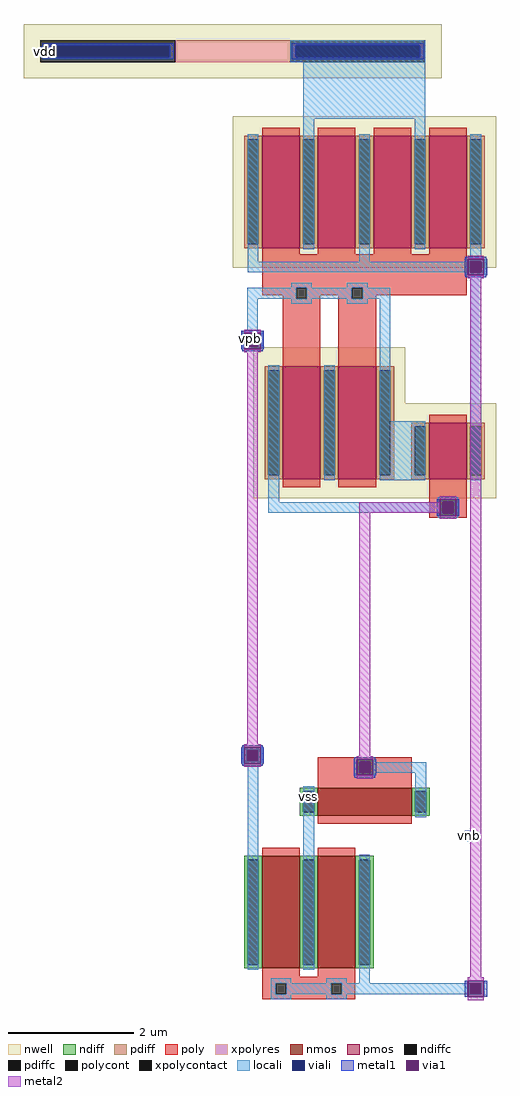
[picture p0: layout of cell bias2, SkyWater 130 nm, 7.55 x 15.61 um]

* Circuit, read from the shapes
.subckt bias2 vdd vpb vss vnb
XM1 vss XM2/d vpb VSUBS sky130_fd_pr__nfet_01v8 w=1.8 l=0.6
XM2 XM2/d XM2/d vss VSUBS sky130_fd_pr__nfet_01v8 w=1.8 l=0.6
XM3 XM5/d XM5/d vss VSUBS sky130_fd_pr__nfet_01v8 w=0.45 l=1.5
XM4 XR1/r0 vpb XM2/d n1 sky130_fd_pr__pfet_01v8 w=1.8 l=0.6 m=4
XM5 XM3/s vpb XM5/d n2 sky130_fd_pr__pfet_01v8 w=1.8 l=0.6
XM6 vpb vpb XM3/s n2 sky130_fd_pr__pfet_01v8 w=1.8 l=0.6
XM7 XM2/d XM5/d vpb n2 sky130_fd_pr__pfet_01v8 w=0.9 l=0.6
XR8 XR1/r0 vdd VSUBS sky130_fd_pr__res_xhigh_po w=0.35 l=1.84
.ends

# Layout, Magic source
magic
tech sky130A
magscale 1 2
<< poly >>
rect -140 1040 -20 1446
rect 38 1040 158 1446
rect 216 1040 336 1446
rect 394 1040 514 1446
rect -140 933 514 1040
rect -140 909 -31 933
rect -74 899 -31 909
rect 3 909 147 933
rect 3 899 46 909
rect -74 296 46 899
rect 104 899 147 909
rect 181 909 514 933
rect 181 899 224 909
rect 104 322 224 899
rect 394 248 514 502
rect 394 214 437 248
rect 471 214 514 248
rect 394 198 514 214
rect 38 -583 338 -567
rect 38 -617 171 -583
rect 205 -617 338 -583
rect 38 -781 338 -617
rect -140 -1269 -20 -883
rect 38 -1269 158 -883
rect -140 -1291 158 -1269
rect -140 -1325 -97 -1291
rect -63 -1325 81 -1291
rect 115 -1325 158 -1291
rect -140 -1341 158 -1325
<< polycont >>
rect -31 899 3 933
rect 147 899 181 933
rect 437 214 471 248
rect 171 -617 205 -583
rect -97 -1325 -63 -1291
rect 81 -1325 115 -1291
<< locali >>
rect -50 1655 382 1725
rect -8 1474 382 1655
rect -186 1017 -152 1424
rect -8 1056 26 1474
rect 170 1017 204 1424
rect 348 1056 382 1474
rect 526 1033 560 1424
rect 510 1017 576 1033
rect -186 983 526 1017
rect 560 983 576 1017
rect 510 967 576 983
rect -47 933 19 949
rect 131 933 197 949
rect -188 899 -31 933
rect 3 899 147 933
rect 181 899 270 933
rect -188 796 -154 899
rect -47 883 19 899
rect 131 883 197 899
rect -204 780 -138 796
rect -204 746 -188 780
rect -154 746 -138 780
rect -204 730 -138 746
rect -120 248 -86 686
rect 58 334 92 670
rect 236 506 270 899
rect 236 318 382 506
rect 526 334 560 967
rect 421 248 487 264
rect -120 214 437 248
rect 471 214 487 248
rect 421 198 487 214
rect -204 -545 -138 -529
rect -204 -579 -188 -545
rect -154 -579 -138 -545
rect -204 -595 -138 -579
rect 155 -583 221 -567
rect -186 -1247 -152 -595
rect 155 -617 171 -583
rect 205 -617 384 -583
rect 155 -633 221 -617
rect -8 -1247 26 -661
rect 350 -759 384 -617
rect -113 -1291 -47 -1275
rect 65 -1291 131 -1275
rect 170 -1291 204 -895
rect -113 -1325 -97 -1291
rect -63 -1325 81 -1291
rect 115 -1325 526 -1291
rect -113 -1341 -47 -1325
rect 65 -1341 131 -1325
<< viali >>
rect 526 983 560 1017
rect -188 746 -154 780
rect 437 214 471 248
rect -188 -579 -154 -545
rect 171 -617 205 -583
rect 526 -1325 560 -1291
<< metal1 >>
rect -850 1671 -816 1705
rect 510 1026 576 1033
rect 507 974 517 1026
rect 569 974 579 1026
rect 510 967 576 974
rect -207 789 -135 796
rect -207 737 -197 789
rect -145 737 -135 789
rect -204 730 -138 737
rect 418 205 428 257
rect 480 205 490 257
rect -204 -536 -138 -529
rect -207 -588 -197 -536
rect -145 -588 -135 -536
rect 155 -574 221 -567
rect -204 -595 -138 -588
rect 152 -626 162 -574
rect 214 -626 224 -574
rect 155 -633 221 -626
rect 507 -836 541 -802
rect 507 -1334 517 -1282
rect 569 -1334 579 -1282
<< via1 >>
rect 517 1017 569 1026
rect 517 983 526 1017
rect 526 983 560 1017
rect 560 983 569 1017
rect 517 974 569 983
rect -197 780 -145 789
rect -197 746 -188 780
rect -188 746 -154 780
rect -154 746 -145 780
rect -197 737 -145 746
rect 428 248 480 257
rect 428 214 437 248
rect 437 214 471 248
rect 471 214 480 248
rect 428 205 480 214
rect -197 -545 -145 -536
rect -197 -579 -188 -545
rect -188 -579 -154 -545
rect -154 -579 -145 -545
rect -197 -588 -145 -579
rect 162 -583 214 -574
rect 162 -617 171 -583
rect 171 -617 205 -583
rect 205 -617 214 -583
rect 162 -626 214 -617
rect 517 -1291 569 -1282
rect 517 -1325 526 -1291
rect 526 -1325 560 -1291
rect 560 -1325 569 -1291
rect 517 -1334 569 -1325
<< metal2 >>
rect 517 1026 569 1036
rect 517 964 569 974
rect -197 789 -145 799
rect -197 727 -145 737
rect -188 -526 -154 727
rect 428 257 480 267
rect 171 214 428 248
rect -197 -536 -145 -526
rect 171 -564 205 214
rect 428 195 480 205
rect -197 -598 -145 -588
rect 162 -574 214 -564
rect 162 -636 214 -626
rect 526 -1272 560 964
rect 517 -1282 569 -1272
rect 517 -1344 569 -1334
use sky130_fd_pr__nfet_01v8_ZJWC73  XM1
transform 1 0 -80 0 1 -1063
box -118 -206 118 206
use sky130_fd_pr__nfet_01v8_ZJWC73  XM2
transform -1 0 98 0 1 -1063
box -118 -206 118 206
use sky130_fd_pr__pfet_01v8_AH2TBC  XM3
transform -1 0 164 0 1 502
box -154 -242 154 242
use sky130_fd_pr__pfet_01v8_AH6ZBC  XM4
transform 1 0 187 0 1 1240
box -421 -242 421 242
use sky130_fd_pr__pfet_01v8_AH2TBC  XM5
transform 1 0 -14 0 -1 502
box -154 -242 154 242
use sky130_fd_pr__nfet_01v8_HE5L4J  XM6
transform -1 0 188 0 1 -710
box -208 -71 208 71
use sky130_fd_pr__pfet_01v8_EP2VBC  XM7
transform -1 0 454 0 1 412
box -154 -152 154 152
use sky130_fd_pr__res_xhigh_po_0p35_QBQWER  XR1 $PDKPATH/libs.tech/magic
transform 0 1 -234 -1 0 1690
box -87 -668 87 668
<< labels >>
flabel metal1 -850 1671 -816 1705 0 FreeSans 256 0 0 0 vdd
port 0 nsew
flabel metal1 -193 770 -159 771 0 FreeSans 256 0 0 0 vpb
port 2 nsew
flabel locali -8 -710 26 -676 0 FreeSans 256 0 0 0 vss
port 3 nsew
flabel metal1 507 -836 541 -802 0 FreeSans 240 0 0 0 vnb
port 4 nsew
<< end >>

# cell sky130_fd_pr__nfet_01v8_ZJWC73: kit device sky130_fd_pr__nfet_01v8, w 1.8 l 0.6 m 1 nf 1 diffcov 100 polycov 100 guard 0 glc 0 grc 0 gtc 0 gbc 0 tbcov 100 rlcov 100 topc 0 botc 0 poverlap 0 doverlap 1 lmin 0.15 wmin 0.42 compatible {sky130_fd_pr__nfet_01v8 sky130_fd_pr__nfet_01v8_lvt sky130_fd_bs_flash__special_sonosfet_star sky130_fd_pr__nfet_g5v0d10v5 sky130_fd_pr__nfet_05v0_nvt sky130_fd_pr__nfet_03v3_nvt} full_metal 1 viasrc 100 viadrn 100 viagate 100 viagb 0 viagr 0 viagl 0 viagt 0

# cell sky130_fd_pr__pfet_01v8_AH2TBC: kit device sky130_fd_pr__pfet_01v8, w 1.8 l 0.6 m 1 nf 1 diffcov 100 polycov 100 guard 0 glc 0 grc 0 gtc 0 gbc 0 tbcov 100 rlcov 100 topc 0 botc 0 poverlap 0 doverlap 1 lmin 0.15 wmin 0.42 compatible {sky130_fd_pr__pfet_01v8 sky130_fd_pr__pfet_01v8_lvt sky130_fd_pr__pfet_01v8_hvt sky130_fd_pr__pfet_g5v0d10v5} full_metal 1 viasrc 100 viadrn 100 viagate 100 viagb 0 viagr 0 viagl 0 viagt 0

# cell sky130_fd_pr__pfet_01v8_AH6ZBC: kit device sky130_fd_pr__pfet_01v8, w 1.8 l 0.6 m 1 nf 4 diffcov 100 polycov 100 guard 0 glc 0 grc 0 gtc 0 gbc 0 tbcov 100 rlcov 100 topc 0 botc 0 poverlap 0 doverlap 1 lmin 0.15 wmin 0.42 compatible {sky130_fd_pr__pfet_01v8 sky130_fd_pr__pfet_01v8_lvt sky130_fd_pr__pfet_01v8_hvt sky130_fd_pr__pfet_g5v0d10v5} full_metal 1 viasrc 100 viadrn 100 viagate 100 viagb 0 viagr 0 viagl 0 viagt 0

# cell sky130_fd_pr__nfet_01v8_HE5L4J: kit device sky130_fd_pr__nfet_01v8, w 0.45 l 1.5 m 1 nf 1 diffcov 100 polycov 100 guard 0 glc 0 grc 0 gtc 0 gbc 0 tbcov 100 rlcov 100 topc 0 botc 0 poverlap 0 doverlap 1 lmin 0.15 wmin 0.42 compatible {sky130_fd_pr__nfet_01v8 sky130_fd_pr__nfet_01v8_lvt sky130_fd_bs_flash__special_sonosfet_star sky130_fd_pr__nfet_g5v0d10v5 sky130_fd_pr__nfet_05v0_nvt sky130_fd_pr__nfet_03v3_nvt} full_metal 1 viasrc 100 viadrn 100 viagate 100 viagb 0 viagr 0 viagl 0 viagt 0

# cell sky130_fd_pr__pfet_01v8_EP2VBC: kit device sky130_fd_pr__pfet_01v8, w 0.9 l 0.6 m 1 nf 1 diffcov 100 polycov 100 guard 0 glc 0 grc 0 gtc 0 gbc 0 tbcov 100 rlcov 100 topc 0 botc 0 poverlap 0 doverlap 1 lmin 0.15 wmin 0.42 compatible {sky130_fd_pr__pfet_01v8 sky130_fd_pr__pfet_01v8_lvt sky130_fd_pr__pfet_01v8_hvt sky130_fd_pr__pfet_g5v0d10v5} full_metal 1 viasrc 100 viadrn 100 viagate 100 viagb 0 viagr 0 viagl 0 viagt 0

# cell sky130_fd_pr__res_xhigh_po_0p35_QBQWER: kit device sky130_fd_pr__res_xhigh_po_0p35, w 0.350 l 2 m 1 nx 1 wmin 0.350 lmin 0.50 rho 2000 val 12.504k dummy 0 dw 0.0 term 188.2 sterm 0.0 caplen 0 wmax 0.350 guard 0 glc 0 grc 0 gtc 0 gbc 0 compatible {sky130_fd_pr__res_xhigh_po_0p35 sky130_fd_pr__res_xhigh_po_0p69 sky130_fd_pr__res_xhigh_po_1p41 sky130_fd_pr__res_xhigh_po_2p85 sky130_fd_pr__res_xhigh_po_5p73} snake 0 full_metal 0 n_guard 0 hv_guard 0 vias 1 viagb 0 viagt 0 viagl 0 viagr 0
